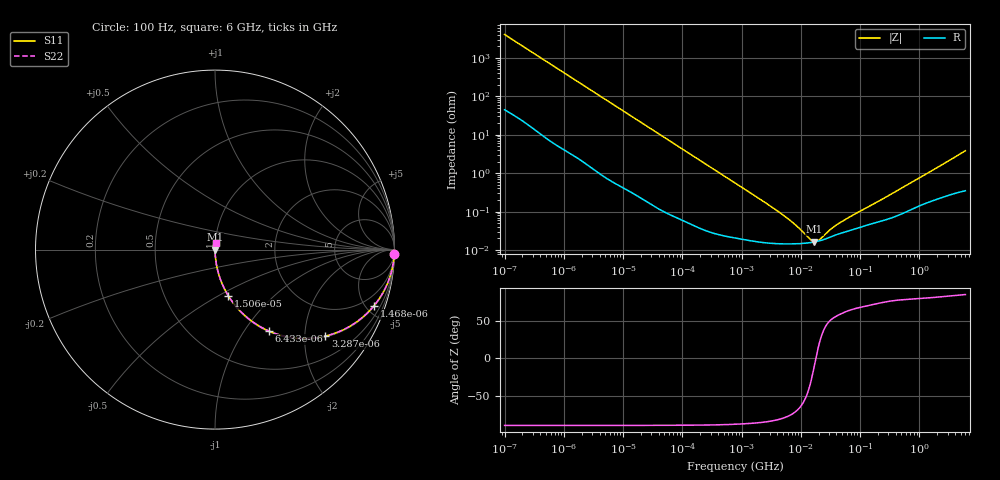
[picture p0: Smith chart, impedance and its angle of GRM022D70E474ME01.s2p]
!Murata Part Number: GRM022D70E474ME01
!These Parameters are Measured in Series Mode Connection
!Data Generated on Mar 30, 2021
!  o--ll--o
!Port1  Port2
!  o------o
!Operation Temp=25[degC], DC Bias Voltage=0[V]
!Freq. Start=100[Hz] Stop=6[GHz] 401[Steps]
# Hz S RI R 50
!Freq.(Hz) S11(Real) S11(Imag) S21(Real) S21(Imag) S12(Real) S12(Imag) S22(Real) S22(Imag)
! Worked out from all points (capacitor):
!   401 points, 100 Hz to 6 GHz, reference 50 ohm
!   read as one part in series: C = 390 nF near 109 Hz
!   lowest |Z| = 16.4 mohm at 17.01 MHz (marker M1)
!   series resonance near 17.98 MHz, so ESL is about 200 pH
!   S11 on the Smith chart (normalised r, x): 100 Hz: 2, -81; 1.468 kHz: 1.06, -5.64; 3.287 kHz: 1.02, -2.53; 6.433 kHz: 1.01, -1.30; 15.06 kHz: 1.01, -0.56; 6 GHz: 1.01, +0.08
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100  0.9991 -0.0246  0.000874 0.0246  0.000874 0.0246  0.9991 -0.0246
458  0.9867 -0.1099  0.0133 0.1099  0.0133 0.1099  0.9867 -0.1099
897  0.953 -0.2068  0.047 0.2068  0.047 0.2068  0.953 -0.2068
1468  0.8858 -0.313  0.1142 0.313  0.1142 0.313  0.8858 -0.313
2008  0.8077 -0.3891  0.1923 0.3891  0.1923 0.3891  0.8077 -0.3891
3287  0.6148 -0.4819  0.3852 0.4819  0.3852 0.4819  0.6148 -0.4819
4496  0.4625 -0.494  0.5375 0.494  0.5375 0.494  0.4625 -0.494
6433  0.2981 -0.4528  0.7019 0.4528  0.7019 0.4528  0.2981 -0.4528
9626  0.1614 -0.363  0.8386 0.363  0.8386 0.363  0.1614 -0.363
15062  0.0744 -0.2572  0.9256 0.2572  0.9256 0.2572  0.0744 -0.2572
40335  0.012 -0.1033  0.988 0.1033  0.988 0.1033  0.012 -0.1033
129199  0.00158 -0.0329  0.9984 0.0329  0.9984 0.0329  0.00158 -0.0329
774597  0.000236 -0.00555  0.9998 0.00555  0.9998 0.00555  0.000236 -0.00555
5311619  0.000145 -0.000749  0.9999 0.000749  0.9999 0.000749  0.000145 -0.000749
8311524  0.000145 -0.000412  0.9999 0.000412  0.9999 0.000412  0.000145 -0.000412
1.555665e7  0.000158 -6.95e-05  0.9998 6.95e-05  0.9998 6.95e-05  0.000158 -6.95e-05
1.701401e7  0.000162 -2.64e-05  0.9998 2.64e-05  0.9998 2.64e-05  0.000162 -2.64e-05
2.035112e7  0.000172 5.86e-05  0.9998 -5.86e-05  0.9998 -5.86e-05  0.000172 5.86e-05
3.184506e7  0.000219 0.000268  0.9998 -0.000268  0.9998 -0.000268  0.000219 0.000268
4.556224e7  0.000268 0.000434  0.9997 -0.000434  0.9997 -0.000434  0.000268 0.000434
3.124326e8  0.000661 0.00259  0.9993 -0.00259  0.9993 -0.00259  0.000661 0.00259
6e9  0.00491 0.0379  0.9951 -0.0379  0.9951 -0.0379  0.00491 0.0379
